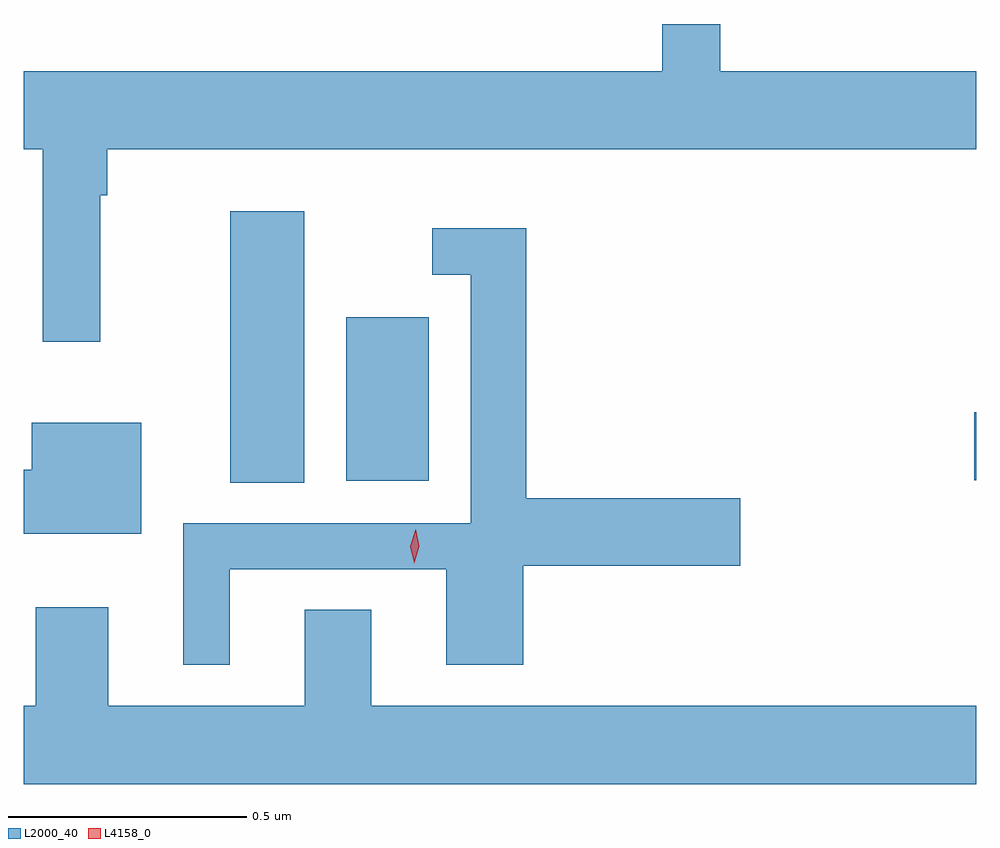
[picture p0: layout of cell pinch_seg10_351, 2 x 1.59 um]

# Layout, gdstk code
import gdstk
lib = gdstk.Library(unit=1e-6, precision=1e-09)
def R(c, l, rs):  # rectangles x0, y0, x1, y1
    for r in rs: c.add(gdstk.rectangle(r[:2], r[2:], *l))
def P(c, l, *ps):  # polygons
    for p in ps: c.add(gdstk.Polygon(p, *l))
L2000_40 = (2000, 40)
L4158_0 = (4158, 0)

pinch_seg10_351 = lib.new_cell('pinch_seg10_351')
R(pinch_seg10_351, L2000_40, [(400.205,1286.296,400.36,1286.866), (400.448,1286.3,400.621,1286.644), (401.766,1286.302,401.771,1286.444)])
P(pinch_seg10_351, L2000_40, [(399.932,1286.9),(399.947,1286.9),(399.947,1286.996),(401.771,1286.996),(401.771,1287.16),(401.233,1287.16),(401.233,1287.259),(401.111,1287.259),(401.111,1287.16),(399.771,1287.16),(399.771,1286.996),(399.811,1286.996),(399.811,1286.592),(399.932,1286.592)],
  [(400.204,1286.115),(400.658,1286.115),(400.658,1285.914),(400.82,1285.914),(400.82,1286.122),(401.275,1286.122),(401.275,1286.264),(400.826,1286.264),(400.826,1286.83),(400.629,1286.83),(400.629,1286.733),(400.71,1286.733),(400.71,1286.211),(400.106,1286.211),(400.106,1285.914),(400.204,1285.914)],
  [(400.018,1286.422),(399.788,1286.422),(399.788,1286.324),(399.771,1286.324),(399.771,1286.189),(400.018,1286.189)],
  [(399.797,1286.035),(399.797,1285.828),(399.771,1285.828),(399.771,1285.664),(401.771,1285.664),(401.771,1285.828),(400.501,1285.828),(400.501,1286.03),(400.361,1286.03),(400.361,1285.828),(399.949,1285.828),(399.949,1286.035)])
P(pinch_seg10_351, L4158_0, [(400.591,1286.127),(400.591,1286.128),(400.583,1286.163),(400.594,1286.199),(400.594,1286.199),(400.594,1286.199),(400.602,1286.163),(400.591,1286.128)])

lib.write_gds('pinch_seg10_351.gds')
